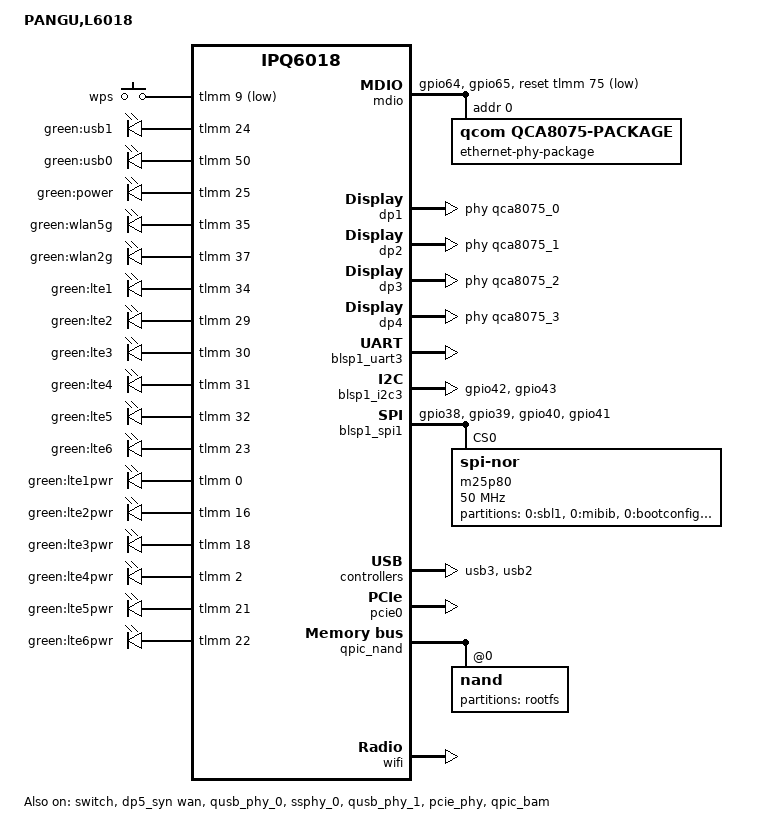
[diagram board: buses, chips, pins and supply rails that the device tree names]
// SPDX-License-Identifier: GPL-2.0-or-later OR MIT

/dts-v1/;

#include "ipq6018.dtsi"
#include "ipq6018-cp-cpu.dtsi"
#include "ipq6018-ess.dtsi"
#include <dt-bindings/gpio/gpio.h>
#include <dt-bindings/input/input.h>
#include <dt-bindings/leds/common.h>

/ {
	model = "PANGU,L6018";
	compatible = "pangu,l6018", "qcom,ipq6018";
	
	aliases {
		led-boot = &power;
		led-failsafe = &power;
		led-running = &power;
		led-upgrade = &power;
		serial0 = &blsp1_uart3;

		/* Aliases as required by u-boot to patch MAC addresses */
		ethernet0 = &dp1;
		ethernet1 = &dp2;
		ethernet2 = &dp3;
		ethernet3 = &dp4;
		ethernet4 = &dp5_syn;
		label-mac-device = &dp1;
	};

	chosen {
		stdout-path = "serial0:115200n8";
		bootargs-append = " root=/dev/ubiblock0_1";
	};

	keys {
		compatible = "gpio-keys";
		pinctrl-0 = <&button_pins>;
		pinctrl-names = "default";

		wps {
			label = "wps";
			gpios = <&tlmm 9 GPIO_ACTIVE_LOW>;
			linux,code = <KEY_WPS_BUTTON>;
		};
	};

	leds {
		compatible = "gpio-leds";
		pinctrl-0 = <&leds_pins>;
		pinctrl-names = "default";

		led@24 {
			label = "green:usb1";
			gpios = <&tlmm 24 GPIO_ACTIVE_HIGH>;
		};

		led@50 {
			label = "green:usb0";
			gpios = <&tlmm 50 GPIO_ACTIVE_HIGH>;
		};

		power: led@25 {
			label = "green:power";
			gpios = <&tlmm 25 GPIO_ACTIVE_HIGH>;
		};

		led@35 {
			label = "green:wlan5g";
			gpios = <&tlmm 35 GPIO_ACTIVE_HIGH>;
		};

		led@37 {
			label = "green:wlan2g";
			gpios = <&tlmm 37 GPIO_ACTIVE_HIGH>;
		};

		led@34 {
			label = "green:lte1";
			gpios = <&tlmm 34 GPIO_ACTIVE_HIGH>;
		};

		led@29 {
			label = "green:lte2";
			gpios = <&tlmm 29 GPIO_ACTIVE_HIGH>;
		};

		led@30 {
			label = "green:lte3";
			gpios = <&tlmm 30 GPIO_ACTIVE_HIGH>;
		};

		led@31 {
			label = "green:lte4";
			gpios = <&tlmm 31 GPIO_ACTIVE_HIGH>;
		};

		led@32 {
			label = "green:lte5";
			gpios = <&tlmm 32 GPIO_ACTIVE_HIGH>;
		};

		led@23 {
			label = "green:lte6";
			gpios = <&tlmm 23 GPIO_ACTIVE_HIGH>;
		};

		led@0 {
			label = "green:lte1pwr";
			gpios = <&tlmm 0 GPIO_ACTIVE_HIGH>;
		};

		led@16 {
			label = "green:lte2pwr";
			gpios = <&tlmm 16 GPIO_ACTIVE_HIGH>;
		};

		led@18 {
			label = "green:lte3pwr";
			gpios = <&tlmm 18 GPIO_ACTIVE_HIGH>;
		};

		led@2 {
			label = "green:lte4pwr";
			gpios = <&tlmm 2 GPIO_ACTIVE_HIGH>;
		};

		led@21 {
			label = "green:lte5pwr";
			gpios = <&tlmm 21 GPIO_ACTIVE_HIGH>;
		};

		led@22 {
			label = "green:lte6pwr";
			gpios = <&tlmm 22 GPIO_ACTIVE_HIGH>;
		};	
	};
};

&tlmm {
	i2c_1_pins: i2c-1-state {
		pins = "gpio42", "gpio43";
		function = "blsp2_i2c";
		drive-strength = <8>;
	};

	spi_0_pins: spi-0-state {
		pins = "gpio38", "gpio39", "gpio40", "gpio41";
		function = "blsp0_spi";
		drive-strength = <8>;
		bias-pull-down;
	};

	rst_usb_hub_pinmux {
		mux {
			pins = "gpio66";
			function = "gpio";
			drive-strength = <8>;
			bias-pull-down;
			output-high;
		};
	};

	mdio_pins: mdio-pins {
		mdc {
			pins = "gpio64";
			function = "mdc";
			drive-strength = <8>;
			bias-pull-up;
		};

		mdio {
			pins = "gpio65";
			function = "mdio";
			drive-strength = <8>;
			bias-pull-up;
		};
	};

    	button_pins: button_pins {
		wps_button {
			pins = "gpio9";
			function = "gpio";
			drive-strength = <8>;
			bias-pull-up;
		};
	};

	leds_pins: leds_pins {
		power {
			pins = "gpio25";
			function = "gpio";
			drive-strength = <8>;
			bias-pull-down;
		};

		wlan5g {
			pins = "gpio35";
			function = "gpio";
			drive-strength = <8>;
			bias-pull-down;
		};

		wlan2g {
			pins = "gpio37";
			function = "gpio";
			drive-strength = <8>;
			bias-pull-down;
		};

		usb1 {
			pins = "gpio24";
			function = "gpio";
			drive-strength = <8>;
			bias-pull-down;
		};

		usb0 {
			pins = "gpio50";
			function = "gpio";
			drive-strength = <8>;
			bias-pull-down;
		};

		lte1 {
			pins = "gpio34";
			function = "gpio";
			drive-strength = <8>;
			bias-pull-down;
		};

		lte2 {
			pins = "gpio29";
			function = "gpio";
			drive-strength = <8>;
			bias-pull-down;
		};

		lte3 {
			pins = "gpio30";
			function = "gpio";
			drive-strength = <8>;
			bias-pull-down;
		};

		lte4 {
			pins = "gpio31";
			function = "gpio";
			drive-strength = <8>;
			bias-pull-down;
		};

		lte5 {
			pins = "gpio32";
			function = "gpio";
			drive-strength = <8>;
			bias-pull-down;
		};

		lte6 {
			pins = "gpio23";
			function = "gpio";
			drive-strength = <8>;
			bias-pull-down;
		};

		lte1pwr {
			pins = "gpio0";
			function = "gpio";
			drive-strength = <8>;
			bias-pull-up;
			output-high;
		};

		lte2pwr {
			pins = "gpio16";
			function = "gpio";
			drive-strength = <8>;
			bias-pull-up;
			output-high;
		};

		lte3pwr {
			pins = "gpio18";
			function = "gpio";
			drive-strength = <8>;
			bias-pull-up;
			output-high;
		};

		lte4pwr {
			pins = "gpio2";
			function = "gpio";
			drive-strength = <8>;
			bias-pull-up;
			output-high;
		};

		lte5pwr {
			pins = "gpio21";
			function = "gpio";
			drive-strength = <8>;
			bias-pull-up;
			output-high;
		};

		lte6pwr {
			pins = "gpio22";
			function = "gpio";
			drive-strength = <8>;
			bias-pull-up;
			output-high;
		};
	};
};

&edma {
	status = "okay";
};

&mdio {
	status = "okay";
	pinctrl-0 = <&mdio_pins>;
	pinctrl-names = "default";
	reset-gpios = <&tlmm 75 GPIO_ACTIVE_LOW>;

	ethernet-phy-package@0 {
		#address-cells = <1>;
		#size-cells = <0>;
		compatible = "qcom,qca8075-package";
		reg = <0>;

		qcom,package-mode = "psgmii";

		qca8075_0: ethernet-phy@0 {
			compatible = "ethernet-phy-ieee802.3-c22";
			reg = <0>;
		};

		qca8075_1: ethernet-phy@1 {
			compatible = "ethernet-phy-ieee802.3-c22";
			reg = <1>;
		};

		qca8075_2: ethernet-phy@2 {
			compatible = "ethernet-phy-ieee802.3-c22";
			reg = <2>;
		};

		qca8075_3: ethernet-phy@3 {
			compatible = "ethernet-phy-ieee802.3-c22";
			reg = <3>;
		};
	};
};

&switch {
	status = "okay";

	switch_lan_bmp = <(ESS_PORT1 | ESS_PORT2 | ESS_PORT3 | ESS_PORT4)>;
	switch_wan_bmp = <ESS_PORT5>;
	switch_mac_mode = <MAC_MODE_PSGMII>;
	switch_mac_mode1 = <MAC_MODE_10GBASE_R>; /* mac mode for uniphy instance1*/


	qcom,port_phyinfo {
		port@1 {
			port_id = <1>;
			phy_address = <0>;
		};

		port@2 {
			port_id = <2>;
			phy_address = <1>;
		};

		port@3 {
			port_id = <3>;
			phy_address = <2>;
		};

		port@4 {
			port_id = <4>;
			phy_address = <3>;
		};

		sfp: port@5 {
			port_id = <5>;
			phy_address = <30>;
			phy_i2c_address = <30>;
			phy-i2c-mode; /*i2c access phy */
			media-type = "sfp"; /* fiber mode */
		};
	};
};

&dp1 {
	status = "okay";
	phy-handle = <&qca8075_0>;
	label = "lan1";
};

&dp2 {
	status = "okay";
	phy-handle = <&qca8075_1>;
	label = "lan2";
};

&dp3 {
	status = "okay";
	phy-handle = <&qca8075_2>;
	label = "lan3";
};

&dp4 {
	status = "okay";
	phy-handle = <&qca8075_3>;
	label = "lan4";
};

&dp5_syn {
	status = "okay";
	phy-handle = <&sfp>;
	label = "wan";
};

&blsp1_uart3 {
	pinctrl-0 = <&serial_3_pins>;
	pinctrl-names = "default";
	status = "okay";
};

&blsp1_i2c3 {
	pinctrl-0 = <&i2c_1_pins>;
	pinctrl-names = "default";
	status = "okay";
};

&blsp1_spi1 {
	cs-select = <0>;
	pinctrl-0 = <&spi_0_pins>;
	pinctrl-names = "default";
	status = "okay";

	m25p80@0 {
		#address-cells = <1>;
		#size-cells = <1>;
		reg = <0>;
		compatible = "jedec,spi-nor";
		spi-max-frequency = <50000000>;
		use-default-sizes;

		partitions {
			compatible = "fixed-partitions";
			#address-cells = <1>;
			#size-cells = <1>;

			partition@0 {
				label = "0:sbl1";
				reg = <0x0 0xc0000>;
				read-only;
			};

			partition@c0000 {
				label = "0:mibib";
				reg = <0xc0000 0x10000>;
			};

			partition@d0000 {
				label = "0:bootconfig";
				reg = <0xd0000 0x20000>;
				read-only;
			};

			partition@f0000 {
				label = "0:bootconfig1";
				reg = <0xf0000 0x20000>;
				read-only;
			};

			partition@110000 {
				label = "0:qsee";
				reg = <0x110000 0x1a0000>;
				read-only;
			};

			partition@2b0000 {
				label = "0:qsee_1";
				reg = <0x2b0000 0x1a0000>;
				read-only;
			};

			partition@450000 {
				label = "0:devcfg";
				reg = <0x450000 0x10000>;
				read-only;
			};

			partition@460000 {
				label = "0:devcfg_1";
				reg = <0x460000 0x10000>;
				read-only;
			};

			partition@470000 {
				label = "0:rpm";
				reg = <0x470000 0x40000>;
				read-only;
			};

			partition@4b0000 {
				label = "0:rpm_1";
				reg = <0x4b0000 0x40000>;
				read-only;
			};

			partition@4f0000 {
				label = "0:cdt";
				reg = <0x4f0000 0x10000>;
			};

			partition@500000 {
				label = "0:cdt_1";
				reg = <0x500000 0x10000>;
			};

			partition@510000 {
				label = "0:appsblenv";
				reg = <0x510000 0x10000>;
			};

			partition@480000 {
				label = "0:appsblenv";
				reg = <0x480000 0x10000>;
			};

			partition@520000 {
				label = "0:appsbl";
				reg = <0x520000 0xa0000>;
			};

			partition@5c0000 {
				label = "0:appsbl_1";
				reg = <0x5c0000 0xa0000>;
			};

			partition@660000 {
				label = "0:art";
				reg = <0x660000 0x40000>;
			};
		};
	};
};

&qusb_phy_0 {
	status = "okay";
};

&ssphy_0 {
	status = "okay";
};

&usb3 {
	status = "okay";
};

&qusb_phy_1 {
	status = "okay";
};

&usb2 {
	status = "okay";
};

&pcie_phy {
	status = "okay";
};

&pcie0 {
	status = "okay";

	perst-gpios = <&tlmm 60 GPIO_ACTIVE_LOW>;
};

&qpic_bam {
	status = "okay";
};

&qpic_nand {
	status = "okay";

	nand@0 {
		reg = <0>;

		nand-ecc-strength = <8>;
		nand-ecc-step-size = <512>;
		nand-bus-width = <8>;

		partitions {
			compatible = "fixed-partitions";
			#address-cells = <1>;
			#size-cells = <1>;

			partition@0 {
				label = "rootfs";
				reg = <0x00000000 0x10000000>;
			};
		};
	};
};

&wifi {
	status = "okay";
	qcom,ath11k-calibration-variant = "GL-iNet-GL-AX1800";
};
